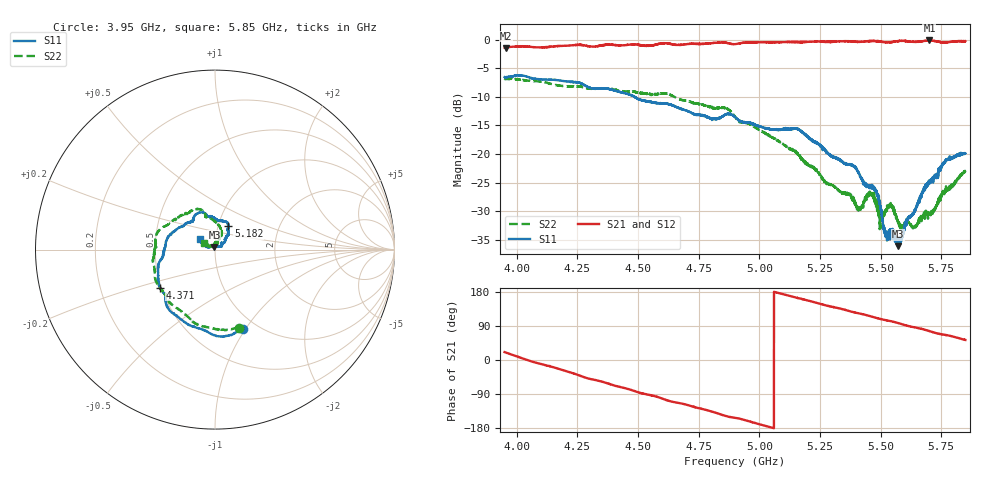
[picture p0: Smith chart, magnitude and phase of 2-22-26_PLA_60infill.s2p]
# GHZ S RI R 50.000000000000
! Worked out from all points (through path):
!   4501 points, 3.95 GHz to 5.85 GHz, reference 50 ohm
!   highest |S21| = -0.16 dB at 5.702 GHz (marker M1); lowest = -1.5 dB at 3.954 GHz (marker M2)
!   lowest |S11| = -36.1 dB at 5.572 GHz (marker M3), VSWR 1.03, Z = 49.7 + j1.52 ohm
!   |S11| at or under -10 dB: 4.485 GHz to end of sweep
!   |S22| runs from -33.2 to -6.8 dB; largest |S21 - S12| = 0.044
!   S11 on the Smith chart (normalised r, x): 3.95 GHz: 0.86, -0.98; 4.371 GHz: 0.49, -0.24; 5.182 GHz: 1.12, +0.30; 5.85 GHz: 0.84, +0.10
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3.95  0.1586 -0.442  0.7936 0.3018  0.7823 0.2959  0.1339 -0.4344
3.9538  0.1492 -0.4433  0.7944 0.2891  0.7837 0.2908  0.1208 -0.4339
4.054711  -0.0323 -0.4634  0.8621 -0.038  0.8755 -0.0249  -0.0345 -0.4344
4.267089  -0.2684 -0.3128  0.6565 -0.6098  0.6741 -0.6051  -0.2577 -0.2872
4.370956  -0.3054 -0.2112  0.4371 -0.7865  0.4464 -0.7655  -0.3239 -0.1869
4.583756  -0.2778 0.0161  -0.1302 -0.9052  -0.1056 -0.9004  -0.3311 0.0441
4.794867  -0.1373 0.1552  -0.647 -0.662  -0.6311 -0.6715  -0.1643 0.1988
4.9  -0.0559 0.202  -0.8084 -0.4181  -0.8092 -0.4259  -0.0568 0.2038
5.027089  0.0105 0.1676  -0.9432 -0.0966  -0.9391 -0.1183  0.00658 0.1504
5.181622  0.0744 0.1328  -0.8916 0.3224  -0.8957 0.3092  0.0344 0.0797
5.217089  0.0719 0.1117  -0.8624 0.4176  -0.8681 0.3974  0.0263 0.0722
5.409622  0.0532 0.0427  -0.5237 0.7976  -0.5415 0.782  0.00575 0.0326
5.451844  0.0375 0.0375  -0.4341 0.8637  -0.4636 0.8527  0.00375 0.0459
5.474644  0.037 0.031  -0.3754 0.8965  -0.4002 0.888  0.0123 0.04
5.502089  0.0282 0.0174  -0.2936 0.9111  -0.315 0.9101  0.00585 0.0286
5.518133  0.0126 0.0166  -0.252 0.9134  -0.2726 0.9147  -0.000359 0.0306
5.533756  0.00249 0.0196  -0.2204 0.919  -0.236 0.9174  -4.3e-05 0.0359
5.572178  -0.00312 0.0153  -0.1296 0.9604  -0.1542 0.9499  0.00346 0.0249
5.6372  -0.0272 0.0146  0.0587 0.9498  0.026 0.9523  -0.0107 0.02
5.7018  -0.0533 0.0243  0.234 0.9529  0.2078 0.9566  -0.0212 0.0207
5.774422  -0.077 0.0454  0.3916 0.8602  0.3685 0.8629  -0.0403 0.027
5.85  -0.0814 0.0606  0.5835 0.7693  0.5667 0.7845  -0.0598 0.0387
